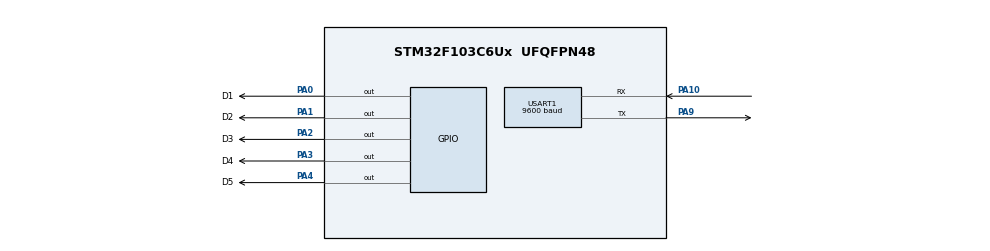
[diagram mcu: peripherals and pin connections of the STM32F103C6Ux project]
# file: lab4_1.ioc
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Mcu.Family=STM32F1
Mcu.Name=STM32F103C6Ux
Mcu.Package=UFQFPN48
NVIC.PriorityGroup=NVIC_PRIORITYGROUP_4
NVIC.TIM2_IRQn=true\:0\:0\:false\:false\:true\:true\:true
PA0-WKUP.GPIO_Label=D1
PA0-WKUP.Signal=GPIO_Output
PA1.GPIO_Label=D2
PA1.Signal=GPIO_Output
PA10.Mode=Asynchronous
PA10.Signal=USART1_RX
PA13.Mode=Serial_Wire
PA13.Signal=SYS_JTMS-SWDIO
PA14.Mode=Serial_Wire
PA14.Signal=SYS_JTCK-SWCLK
PA2.GPIO_Label=D3
PA2.Signal=GPIO_Output
PA3.GPIO_Label=D4
PA3.Signal=GPIO_Output
PA4.GPIO_Label=D5
PA4.Signal=GPIO_Output
PA9.Mode=Asynchronous
PA9.Signal=USART1_TX
ProjectManager.HeapSize=0x200
ProjectManager.StackSize=0x400
ProjectManager.TargetToolchain=STM32CubeIDE
RCC.APB1Freq_Value=8000000
RCC.APB2Freq_Value=8000000
TIM2.Period=9
TIM2.Prescaler=7999
USART1.BaudRate=9600
USART1.VirtualMode=VM_ASYNC
VP_TIM2_VS_ClockSourceINT.Mode=Internal
board=custom

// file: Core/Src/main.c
/* USER CODE BEGIN Header */
/* USER CODE END Header */

#include "main.h"

/* USER CODE BEGIN Includes */
#include <stdio.h>
#include "scheduler.h"
/* USER CODE END Includes */

TIM_HandleTypeDef htim2;
UART_HandleTypeDef huart1;

void SystemClock_Config(void);
static void MX_GPIO_Init(void);
static void MX_TIM2_Init(void);
static void MX_USART1_UART_Init(void);

/* USER CODE BEGIN PFP */
// Hàm đè để xuất printf qua UART1
int __io_putchar(int ch) {
    HAL_UART_Transmit(&huart1, (uint8_t *)&ch, 1, 0xFFFF);
    return ch;
}

// Định nghĩa 5 Task định kỳ
void Task_0_5s(void) {
    HAL_GPIO_TogglePin(GPIOA, GPIO_PIN_0);
    printf("[%lu ms] Task 0.5s (LED1) executed\r\n", get_time());
}

void Task_1_0s(void) {
    HAL_GPIO_TogglePin(GPIOA, GPIO_PIN_1);
    printf("[%lu ms] Task 1.0s (LED2) executed\r\n", get_time());
}

void Task_1_5s(void) {
    HAL_GPIO_TogglePin(GPIOA, GPIO_PIN_2);
    printf("[%lu ms] Task 1.5s (LED3) executed\r\n", get_time());
}

void Task_2_0s(void) {
    HAL_GPIO_TogglePin(GPIOA, GPIO_PIN_3);
    printf("[%lu ms] Task 2.0s (LED4) executed\r\n", get_time());
}

void Task_2_5s(void) {
    HAL_GPIO_TogglePin(GPIOA, GPIO_PIN_4);
    printf("[%lu ms] Task 2.5s (LED5) executed\r\n", get_time());
}

// Task Demo phục vụ chấm điểm
void Task_10ms_Callback(void) {
    printf("[%lu ms] 10ms Tick Callback\r\n", get_time());
}

void Task_Temp_OneShot(void) {
    printf("[%lu ms] Single-shot Task executed!\r\n", get_time());
}

// Callback ngắt Timer 2
void HAL_TIM_PeriodElapsedCallback(TIM_HandleTypeDef *htim) {
    if (htim->Instance == TIM2) {
        SCH_Update();

    }
}
/* USER CODE END PFP */

/* Private user code --------------------------------------------------------- */

int main(void) {
    HAL_Init();
    SystemClock_Config();
    MX_GPIO_Init();
    MX_USART1_UART_Init();

    /* USER CODE BEGIN 2 */
    SCH_Init();
    __disable_irq();

    // Đăng ký 5 Task định kỳ theo đề bài
    SCH_Add_Task(Task_0_5s, 50, 50);
    SCH_Add_Task(Task_1_0s, 100, 100);
    SCH_Add_Task(Task_1_5s, 150, 150);
    SCH_Add_Task(Task_2_0s, 200, 200);
    SCH_Add_Task(Task_2_5s, 250, 250);

    SCH_Add_Task(Task_Temp_OneShot, 200, 0);
    __enable_irq();
    /* USER CODE END 2 */
    MX_TIM2_Init();
    HAL_TIM_Base_Start_IT(&htim2);

    while (1) {
        SCH_Dispatch_Tasks();
    }
}

void SystemClock_Config(void) {
    RCC_OscInitTypeDef RCC_OscInitStruct = {0};
    RCC_ClkInitTypeDef RCC_ClkInitStruct = {0};

    RCC_OscInitStruct.OscillatorType = RCC_OSCILLATORTYPE_HSI;
    RCC_OscInitStruct.HSIState = RCC_HSI_ON;
    RCC_OscInitStruct.HSICalibrationValue = RCC_HSICALIBRATION_DEFAULT;
    RCC_OscInitStruct.PLL.PLLState = RCC_PLL_NONE;
    if (HAL_RCC_OscConfig(&RCC_OscInitStruct) != HAL_OK) {
        Error_Handler();
    }

    RCC_ClkInitStruct.ClockType = RCC_CLOCKTYPE_HCLK|RCC_CLOCKTYPE_SYSCLK
                                |RCC_CLOCKTYPE_PCLK1|RCC_CLOCKTYPE_PCLK2;
    RCC_ClkInitStruct.SYSCLKSource = RCC_SYSCLKSOURCE_HSI;
    RCC_ClkInitStruct.AHBCLKDivider = RCC_SYSCLK_DIV1;
    RCC_ClkInitStruct.APB1CLKDivider = RCC_HCLK_DIV1;
    RCC_ClkInitStruct.APB2CLKDivider = RCC_HCLK_DIV1;

    if (HAL_RCC_ClockConfig(&RCC_ClkInitStruct, FLASH_LATENCY_0) != HAL_OK) {
        Error_Handler();
    }
}

static void MX_TIM2_Init(void) {
    TIM_ClockConfigTypeDef sClockSourceConfig = {0};
    TIM_MasterConfigTypeDef sMasterConfig = {0};

    htim2.Instance = TIM2;
    htim2.Init.Prescaler = 7999;
    htim2.Init.CounterMode = TIM_COUNTERMODE_UP;
    htim2.Init.Period = 9;
    htim2.Init.ClockDivision = TIM_CLOCKDIVISION_DIV1;
    htim2.Init.AutoReloadPreload = TIM_AUTORELOAD_PRELOAD_DISABLE;
    if (HAL_TIM_Base_Init(&htim2) != HAL_OK) {
        Error_Handler();
    }
    sClockSourceConfig.ClockSource = TIM_CLOCKSOURCE_INTERNAL;
    if (HAL_TIM_ConfigClockSource(&htim2, &sClockSourceConfig) != HAL_OK) {
        Error_Handler();
    }
    sMasterConfig.MasterOutputTrigger = TIM_TRGO_RESET;
    sMasterConfig.MasterSlaveMode = TIM_MASTERSLAVEMODE_DISABLE;
    if (HAL_TIMEx_MasterConfigSynchronization(&htim2, &sMasterConfig) != HAL_OK) {
        Error_Handler();
    }
}

static void MX_USART1_UART_Init(void) {
    huart1.Instance = USART1;
    huart1.Init.BaudRate = 115200;
    huart1.Init.WordLength = UART_WORDLENGTH_8B;
    huart1.Init.StopBits = UART_STOPBITS_1;
    huart1.Init.Parity = UART_PARITY_NONE;
    huart1.Init.Mode = UART_MODE_TX_RX;
    huart1.Init.HwFlowCtl = UART_HWCONTROL_NONE;
    huart1.Init.OverSampling = UART_OVERSAMPLING_16;
    if (HAL_UART_Init(&huart1) != HAL_OK) {
        Error_Handler();
    }
}

static void MX_GPIO_Init(void) {
    GPIO_InitTypeDef GPIO_InitStruct = {0};

    __HAL_RCC_GPIOA_CLK_ENABLE();

    HAL_GPIO_WritePin(GPIOA, D1_Pin|D2_Pin|D3_Pin|D4_Pin|D5_Pin, GPIO_PIN_RESET);

    GPIO_InitStruct.Pin = D1_Pin|D2_Pin|D3_Pin|D4_Pin|D5_Pin;
    GPIO_InitStruct.Mode = GPIO_MODE_OUTPUT_PP;
    GPIO_InitStruct.Pull = GPIO_NOPULL;
    GPIO_InitStruct.Speed = GPIO_SPEED_FREQ_LOW;
    HAL_GPIO_Init(GPIOA, &GPIO_InitStruct);
}

void Error_Handler(void) {
    __disable_irq();
    while (1) {
    }
}
